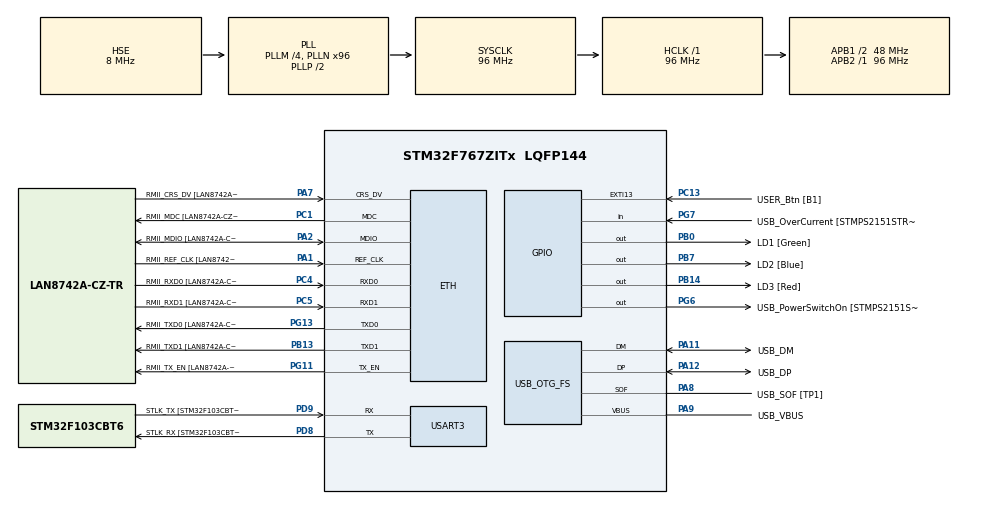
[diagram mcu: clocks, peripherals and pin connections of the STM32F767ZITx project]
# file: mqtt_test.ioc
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ETH.MACAddr=00\:80\:E1\:32\:E4\:63
ETH.MediaInterface=ETH_MEDIA_INTERFACE_RMII
ETH.PHY_Name=LAN8742A_PHY_ADDRESS
ETH.PHY_Value=0
ETH.PhyAddress=0
FREERTOS.Tasks01=defaultTask,24,512,StartDefaultTask,Default,NULL,Dynamic,NULL,NULL
LWIP.IP_ADDRESS=192.168.000.233
LWIP.LWIP_DHCP=1
LWIP.LWIP_DNS=1
LWIP.LWIP_IPV6=0
LWIP.NETMASK_ADDRESS=255.255.255.000
LWIP.Version=v2.1.2_Cube
Mcu.Family=STM32F7
Mcu.Name=STM32F767ZITx
Mcu.Package=LQFP144
NVIC.ETH_IRQn=true\:5\:0\:false\:false\:true\:true\:false\:true
NVIC.PriorityGroup=NVIC_PRIORITYGROUP_4
NVIC.TIM1_UP_TIM10_IRQn=true\:0\:0\:false\:false\:true\:false\:false\:true
NVIC.TimeBase=TIM1_UP_TIM10_IRQn
NVIC.TimeBaseIP=TIM1
PA1.GPIO_Label=RMII_REF_CLK [LAN8742A-CZ-TR_REFCLK0]
PA1.Mode=RMII
PA1.Signal=ETH_REF_CLK
PA10.GPIO_Label=USB_ID
PA10.Signal=USB_OTG_FS_ID
PA11.GPIO_Label=USB_DM
PA11.Mode=Device_Only
PA11.Signal=USB_OTG_FS_DM
PA12.GPIO_Label=USB_DP
PA12.Mode=Device_Only
PA12.Signal=USB_OTG_FS_DP
PA13.GPIO_Label=TMS
PA13.Mode=Serial_Wire
PA13.Signal=SYS_JTMS-SWDIO
PA14.GPIO_Label=TCK
PA14.Mode=Serial_Wire
PA14.Signal=SYS_JTCK-SWCLK
PA2.GPIO_Label=RMII_MDIO [LAN8742A-CZ-TR_MDIO]
PA2.Mode=RMII
PA2.Signal=ETH_MDIO
PA7.GPIO_Label=RMII_CRS_DV [LAN8742A-CZ-TR_CRS_DV]
PA7.Mode=RMII
PA7.Signal=ETH_CRS_DV
PA8.GPIO_Label=USB_SOF [TP1]
PA8.Mode=Activate_SOF_FS
PA8.Signal=USB_OTG_FS_SOF
PA9.GPIO_Label=USB_VBUS
PA9.Mode=Activate_VBUS
PA9.Signal=USB_OTG_FS_VBUS
PB0.GPIO_Label=LD1 [Green]
PB0.Signal=GPIO_Output
PB13.GPIO_Label=RMII_TXD1 [LAN8742A-CZ-TR_TXD1]
PB13.Mode=RMII
PB13.Signal=ETH_TXD1
PB14.GPIO_Label=LD3 [Red]
PB14.Signal=GPIO_Output
PB3.GPIO_Label=SWO
PB3.Signal=SYS_JTDO-SWO
PB7.GPIO_Label=LD2 [Blue]
PB7.Signal=GPIO_Output
PC1.GPIO_Label=RMII_MDC [LAN8742A-CZ-TR_MDC]
PC1.Mode=RMII
PC1.Signal=ETH_MDC
PC13.GPIO_Label=USER_Btn [B1]
PC13.Signal=GPXTI13
PC14/OSC32_IN.Mode=LSE-External-Oscillator
PC14/OSC32_IN.Signal=RCC_OSC32_IN
PC15/OSC32_OUT.Mode=LSE-External-Oscillator
PC15/OSC32_OUT.Signal=RCC_OSC32_OUT
PC4.GPIO_Label=RMII_RXD0 [LAN8742A-CZ-TR_RXD0]
PC4.Mode=RMII
PC4.Signal=ETH_RXD0
PC5.GPIO_Label=RMII_RXD1 [LAN8742A-CZ-TR_RXD1]
PC5.Mode=RMII
PC5.Signal=ETH_RXD1
PD8.GPIO_Label=STLK_RX [STM32F103CBT6_PA3]
PD8.Mode=Asynchronous
PD8.Signal=USART3_TX
PD9.GPIO_Label=STLK_TX [STM32F103CBT6_PA2]
PD9.Mode=Asynchronous
PD9.Signal=USART3_RX
PG11.GPIO_Label=RMII_TX_EN [LAN8742A-CZ-TR_TXEN]
PG11.Mode=RMII
PG11.Signal=ETH_TX_EN
PG13.GPIO_Label=RMII_TXD0 [LAN8742A-CZ-TR_TXD0]
PG13.Mode=RMII
PG13.Signal=ETH_TXD0
PG6.GPIO_Label=USB_PowerSwitchOn [STMPS2151STR_EN]
PG6.Signal=GPIO_Output
PG7.GPIO_Label=USB_OverCurrent [STMPS2151STR_FAULT]
PG7.Signal=GPIO_Input
PH0/OSC_IN.GPIO_Label=MCO [STM32F103CBT6_PA8]
PH0/OSC_IN.Mode=HSE-External-Oscillator
PH0/OSC_IN.Signal=RCC_OSC_IN
PH1/OSC_OUT.Mode=HSE-External-Oscillator
PH1/OSC_OUT.Signal=RCC_OSC_OUT
ProjectManager.HeapSize=0x200
ProjectManager.StackSize=0x400
ProjectManager.TargetToolchain=TrueSTUDIO
RCC.48MHZClocksFreq_Value=24000000
RCC.AHBFreq_Value=96000000
RCC.APB1CLKDivider=RCC_HCLK_DIV2
RCC.APB1Freq_Value=48000000
RCC.APB1TimFreq_Value=96000000
RCC.APB2Freq_Value=96000000
RCC.APB2TimFreq_Value=96000000
RCC.CortexFreq_Value=96000000
RCC.HCLKFreq_Value=96000000
RCC.HSE_VALUE=8000000
RCC.HSI_VALUE=16000000
RCC.PLLM=4
RCC.PLLMUL=RCC_PLL_MUL9
RCC.PLLN=96
RCC.PLLQ=4
RCC.PRESCALERUSB=RCC_USBCLKSOURCE_PLL_DIV1_5
RCC.SYSCLKFreq_VALUE=96000000
RCC.SYSCLKSource=RCC_SYSCLKSOURCE_PLLCLK
RCC.SYSCLKSourceVirtual=RCC_SYSCLKSOURCE_PLLCLK
RCC.USBFreq_Value=48000000
RCC.VCOOutputFreq_Value=192000000
USART3.VirtualMode-Asynchronous=VM_ASYNC
USB_OTG_FS.VirtualMode=Device_Only
VP_FREERTOS_VS_CMSIS_V2.Mode=CMSIS_V2
VP_LWIP_VS_Enabled.Mode=Enabled
VP_SYS_VS_tim1.Mode=TIM1
VP_TIM2_VS_ClockSourceINT.Mode=Internal
board=NUCLEO-F767ZI

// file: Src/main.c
/* USER CODE BEGIN Header */
/**
  ******************************************************************************
  * @file           : main.c
  * @brief          : Main program body
  ******************************************************************************
  * @attention
  *
  * <h2><center>&copy; Copyright (c) 2020 STMicroelectronics.
  * All rights reserved.</center></h2>
  *
  * This software component is licensed by ST under Ultimate Liberty license
  * SLA0044, the "License"; You may not use this file except in compliance with
  * the License. You may obtain a copy of the License at:
  *                             www.st.com/SLA0044
  *
  ******************************************************************************
  */
/* USER CODE END Header */

#include "main.h"
#include "cmsis_os.h"
#include "lwip.h"

/* USER CODE BEGIN Includes */
#include "mqtt.h"
/* USER CODE END Includes */

/* USER CODE BEGIN PD */
#define USER_NAME_or_TOKEN "token_hogehogefoo"
/* USER CODE END PD */

TIM_HandleTypeDef htim2;

UART_HandleTypeDef huart3;

PCD_HandleTypeDef hpcd_USB_OTG_FS;

/* Definitions for defaultTask */
osThreadId_t defaultTaskHandle;
const osThreadAttr_t defaultTask_attributes = {
  .name = "defaultTask",
  .priority = (osPriority_t) osPriorityNormal,
  .stack_size = 512 * 4
};

void SystemClock_Config(void);
static void MX_GPIO_Init(void);
static void MX_USART3_UART_Init(void);
static void MX_USB_OTG_FS_PCD_Init(void);
static void MX_TIM2_Init(void);
void StartDefaultTask(void *argument);

/* USER CODE BEGIN 0 */
void __io_putchar(uint8_t ch) {
	HAL_UART_Transmit(&huart3, &ch, 1, 1);
}

//mqtt--------------------------------------------------

static int inpub_id;
static void mqtt_incoming_publish_cb(void *arg, const char *topic, u32_t tot_len)
{
	  printf("Incoming publish at topic %s with total length %u\n", topic, (unsigned int)tot_len);

	  /* Decode topic string into a user defined reference */
	  if(strcmp(topic, "print_payload") == 0) {
		inpub_id = 0;
	  } else if(topic[0] == 'A') {
		/* All topics starting with 'A' might be handled at the same way */
		inpub_id = 1;
	  } else {
		/* For all other topics */
		inpub_id = 2;
	  }
}

///* Called when publish is complete either with sucess or failure */
static void mqtt_pub_request_cb(void *arg, err_t result)
{
  if(result != ERR_OK) {
    printf("Publish result: %d\n", result);
  }
}

void example_publish(mqtt_client_t *client, void *arg)
{
  const char *pub_payload= "PubSubHubLubJub";
  err_t err;
  u8_t qos = 0; /* 0 1 or 2, see MQTT specification */
  u8_t retain = 0; /* No don't retain such crappy payload... */
  err = mqtt_publish(client, "test/res", pub_payload, strlen(pub_payload), qos, retain, mqtt_pub_request_cb, arg);
  if(err != ERR_OK) {
    printf("Publish err: %d\n", err);
  }
}

static void mqtt_incoming_data_cb(void *arg, const u8_t *data, u16_t len, u8_t flags)
{
  printf("Incoming publish payload with length %d, flags %u\n", len, (unsigned int)flags);

  if(flags & MQTT_DATA_FLAG_LAST) {
    /* Last fragment of payload received (or whole part if payload fits receive buffer
       See MQTT_VAR_HEADER_BUFFER_LEN)  */

    /* Call function or do action depending on reference, in this case inpub_id */
    if(inpub_id == 0) {
      /* Don't trust the publisher, check zero termination */
      if(data[len-1] == 0) {
        printf("mqtt_incoming_data_cb: %s\n", (const char *)data);
      }
    } else if(inpub_id == 1) {
      /* Call an 'A' function... */
    } else {
      printf("mqtt_incoming_data_cb: Ignoring payload...\n");
    }
  } else {
    /* Handle fragmented payload, store in buffer, write to file or whatever */
  }
}

static void mqtt_sub_request_cb(void *arg, err_t result)
{
  /* Just print the result code here for simplicity,
     normal behaviour would be to take some action if subscribe fails like
     notifying user, retry subscribe or disconnect from server */
  printf("Subscribe result: %d\n", result);
}

static void mqtt_connection_cb(mqtt_client_t *client, void *arg, mqtt_connection_status_t status)
{
  err_t err;
  if(status == MQTT_CONNECT_ACCEPTED) {
    printf("mqtt_connection_cb: Successfully connected\n");

    /* Setup callback for incoming publish requests */
    mqtt_set_inpub_callback(client, mqtt_incoming_publish_cb, mqtt_incoming_data_cb, arg);

    /* Subscribe to a topic named "subtopic" with QoS level 1, call mqtt_sub_request_cb with result */
    err = mqtt_subscribe(client, "test/res", 1, mqtt_sub_request_cb, arg);

    if(err != ERR_OK) {
      printf("mqtt_subscribe return: %d\n", err);
    }
  } else {
    printf("mqtt_connection_cb: Disconnected, reason: %d\n", status);

    /* Its more nice to be connected, so try to reconnect */
    example_do_connect(client);
  }
}

void example_do_connect(mqtt_client_t *client)
{
  struct mqtt_connect_client_info_t ci;
  err_t err;
  ip4_addr_t broker_ipaddr,dnsaddress;

  err_t dns_err = dns_gethostbyname("mqtt.beebotte.com",&broker_ipaddr,NULL,NULL);

  printf("%x",ip4_addr_get_u32(&broker_ipaddr));

  /* Setup an empty client info structure */
  memset(&ci, 0, sizeof(ci));

  /* Minimal amount of information required is client identifier, so set it here */
  ci.client_id = "nucleo_c";
  ci.client_user  = USER_NAME_or_TOKEN;

  /* Initiate client and connect to server, if this fails immediately an error code is returned
     otherwise mqtt_connection_cb will be called with connection result after attempting
     to establish a connection with the server.
     For now MQTT version 3.1.1 is always used */

  err = mqtt_client_connect(client, &broker_ipaddr, 1883, mqtt_connection_cb, 0, &ci);

  /* For now just print the result code if something goes wrong */
  if(err != ERR_OK) {
    printf("mqtt_connect return %d\n", err);
  }
}
/* USER CODE END 0 */

int main(void)
{

  /* MCU Configuration--------------------------------------------------------*/

  /* Reset of all peripherals, Initializes the Flash interface and the Systick. */
  HAL_Init();

  /* Configure the system clock */
  SystemClock_Config();

  /* Initialize all configured peripherals */
  MX_GPIO_Init();
  MX_USART3_UART_Init();
  MX_USB_OTG_FS_PCD_Init();
  MX_TIM2_Init();

  /* Init scheduler */
  osKernelInitialize();

  /* Create the thread(s) */
  /* creation of defaultTask */
//  MX_LWIP_Init();
  defaultTaskHandle = osThreadNew(StartDefaultTask, NULL, &defaultTask_attributes);

  /* USER CODE BEGIN RTOS_THREADS */
//  xTaskCreate(&StartDefaultTask , "StartDefaultTask", 2048, NULL, 1, NULL);
  /* add threads, ... */
  /* USER CODE END RTOS_THREADS */

  /* Start scheduler */
  osKernelStart();

  /* We should never get here as control is now taken by the scheduler */
  /* Infinite loop */
  while (1)
  {

  }
}

void SystemClock_Config(void)
{
  RCC_OscInitTypeDef RCC_OscInitStruct = {0};
  RCC_ClkInitTypeDef RCC_ClkInitStruct = {0};
  RCC_PeriphCLKInitTypeDef PeriphClkInitStruct = {0};

  /** Configure LSE Drive Capability
  */
  HAL_PWR_EnableBkUpAccess();
  /** Configure the main internal regulator output voltage
  */
  __HAL_RCC_PWR_CLK_ENABLE();
  __HAL_PWR_VOLTAGESCALING_CONFIG(PWR_REGULATOR_VOLTAGE_SCALE3);
  /** Initializes the CPU, AHB and APB busses clocks
  */
  RCC_OscInitStruct.OscillatorType = RCC_OSCILLATORTYPE_HSE;
  RCC_OscInitStruct.HSEState = RCC_HSE_ON;
  RCC_OscInitStruct.PLL.PLLState = RCC_PLL_ON;
  RCC_OscInitStruct.PLL.PLLSource = RCC_PLLSOURCE_HSE;
  RCC_OscInitStruct.PLL.PLLM = 4;
  RCC_OscInitStruct.PLL.PLLN = 96;
  RCC_OscInitStruct.PLL.PLLP = RCC_PLLP_DIV2;
  RCC_OscInitStruct.PLL.PLLQ = 4;
  if (HAL_RCC_OscConfig(&RCC_OscInitStruct) != HAL_OK)
  {
    Error_Handler();
  }
  /** Activate the Over-Drive mode
  */
  if (HAL_PWREx_EnableOverDrive() != HAL_OK)
  {
    Error_Handler();
  }
  /** Initializes the CPU, AHB and APB busses clocks
  */
  RCC_ClkInitStruct.ClockType = RCC_CLOCKTYPE_HCLK|RCC_CLOCKTYPE_SYSCLK
                              |RCC_CLOCKTYPE_PCLK1|RCC_CLOCKTYPE_PCLK2;
  RCC_ClkInitStruct.SYSCLKSource = RCC_SYSCLKSOURCE_PLLCLK;
  RCC_ClkInitStruct.AHBCLKDivider = RCC_SYSCLK_DIV1;
  RCC_ClkInitStruct.APB1CLKDivider = RCC_HCLK_DIV2;
  RCC_ClkInitStruct.APB2CLKDivider = RCC_HCLK_DIV1;

  if (HAL_RCC_ClockConfig(&RCC_ClkInitStruct, FLASH_LATENCY_3) != HAL_OK)
  {
    Error_Handler();
  }
  PeriphClkInitStruct.PeriphClockSelection = RCC_PERIPHCLK_USART3|RCC_PERIPHCLK_CLK48;
  PeriphClkInitStruct.Usart3ClockSelection = RCC_USART3CLKSOURCE_PCLK1;
  PeriphClkInitStruct.Clk48ClockSelection = RCC_CLK48SOURCE_PLL;
  if (HAL_RCCEx_PeriphCLKConfig(&PeriphClkInitStruct) != HAL_OK)
  {
    Error_Handler();
  }
}

static void MX_TIM2_Init(void)
{

  TIM_ClockConfigTypeDef sClockSourceConfig = {0};
  TIM_MasterConfigTypeDef sMasterConfig = {0};

  htim2.Instance = TIM2;
  htim2.Init.Prescaler = 0;
  htim2.Init.CounterMode = TIM_COUNTERMODE_UP;
  htim2.Init.Period = 0;
  htim2.Init.ClockDivision = TIM_CLOCKDIVISION_DIV1;
  htim2.Init.AutoReloadPreload = TIM_AUTORELOAD_PRELOAD_DISABLE;
  if (HAL_TIM_Base_Init(&htim2) != HAL_OK)
  {
    Error_Handler();
  }
  sClockSourceConfig.ClockSource = TIM_CLOCKSOURCE_INTERNAL;
  if (HAL_TIM_ConfigClockSource(&htim2, &sClockSourceConfig) != HAL_OK)
  {
    Error_Handler();
  }
  sMasterConfig.MasterOutputTrigger = TIM_TRGO_RESET;
  sMasterConfig.MasterSlaveMode = TIM_MASTERSLAVEMODE_DISABLE;
  if (HAL_TIMEx_MasterConfigSynchronization(&htim2, &sMasterConfig) != HAL_OK)
  {
    Error_Handler();
  }

}

static void MX_USART3_UART_Init(void)
{

  huart3.Instance = USART3;
  huart3.Init.BaudRate = 115200;
  huart3.Init.WordLength = UART_WORDLENGTH_8B;
  huart3.Init.StopBits = UART_STOPBITS_1;
  huart3.Init.Parity = UART_PARITY_NONE;
  huart3.Init.Mode = UART_MODE_TX_RX;
  huart3.Init.HwFlowCtl = UART_HWCONTROL_NONE;
  huart3.Init.OverSampling = UART_OVERSAMPLING_16;
  huart3.Init.OneBitSampling = UART_ONE_BIT_SAMPLE_DISABLE;
  huart3.AdvancedInit.AdvFeatureInit = UART_ADVFEATURE_NO_INIT;
  if (HAL_UART_Init(&huart3) != HAL_OK)
  {
    Error_Handler();
  }

}

static void MX_USB_OTG_FS_PCD_Init(void)
{

  hpcd_USB_OTG_FS.Instance = USB_OTG_FS;
  hpcd_USB_OTG_FS.Init.dev_endpoints = 6;
  hpcd_USB_OTG_FS.Init.speed = PCD_SPEED_FULL;
  hpcd_USB_OTG_FS.Init.dma_enable = DISABLE;
  hpcd_USB_OTG_FS.Init.phy_itface = PCD_PHY_EMBEDDED;
  hpcd_USB_OTG_FS.Init.Sof_enable = ENABLE;
  hpcd_USB_OTG_FS.Init.low_power_enable = DISABLE;
  hpcd_USB_OTG_FS.Init.lpm_enable = DISABLE;
  hpcd_USB_OTG_FS.Init.vbus_sensing_enable = ENABLE;
  hpcd_USB_OTG_FS.Init.use_dedicated_ep1 = DISABLE;
  if (HAL_PCD_Init(&hpcd_USB_OTG_FS) != HAL_OK)
  {
    Error_Handler();
  }

}

static void MX_GPIO_Init(void)
{
  GPIO_InitTypeDef GPIO_InitStruct = {0};

  /* GPIO Ports Clock Enable */
  __HAL_RCC_GPIOC_CLK_ENABLE();
  __HAL_RCC_GPIOH_CLK_ENABLE();
  __HAL_RCC_GPIOA_CLK_ENABLE();
  __HAL_RCC_GPIOB_CLK_ENABLE();
  __HAL_RCC_GPIOD_CLK_ENABLE();
  __HAL_RCC_GPIOG_CLK_ENABLE();

  /*Configure GPIO pin Output Level */
  HAL_GPIO_WritePin(GPIOB, LD1_Pin|LD3_Pin|LD2_Pin, GPIO_PIN_RESET);

  /*Configure GPIO pin Output Level */
  HAL_GPIO_WritePin(USB_PowerSwitchOn_GPIO_Port, USB_PowerSwitchOn_Pin, GPIO_PIN_RESET);

  /*Configure GPIO pin : USER_Btn_Pin */
  GPIO_InitStruct.Pin = USER_Btn_Pin;
  GPIO_InitStruct.Mode = GPIO_MODE_IT_RISING;
  GPIO_InitStruct.Pull = GPIO_NOPULL;
  HAL_GPIO_Init(USER_Btn_GPIO_Port, &GPIO_InitStruct);

  /*Configure GPIO pins : LD1_Pin LD3_Pin LD2_Pin */
  GPIO_InitStruct.Pin = LD1_Pin|LD3_Pin|LD2_Pin;
  GPIO_InitStruct.Mode = GPIO_MODE_OUTPUT_PP;
  GPIO_InitStruct.Pull = GPIO_NOPULL;
  GPIO_InitStruct.Speed = GPIO_SPEED_FREQ_LOW;
  HAL_GPIO_Init(GPIOB, &GPIO_InitStruct);

  /*Configure GPIO pin : USB_PowerSwitchOn_Pin */
  GPIO_InitStruct.Pin = USB_PowerSwitchOn_Pin;
  GPIO_InitStruct.Mode = GPIO_MODE_OUTPUT_PP;
  GPIO_InitStruct.Pull = GPIO_NOPULL;
  GPIO_InitStruct.Speed = GPIO_SPEED_FREQ_LOW;
  HAL_GPIO_Init(USB_PowerSwitchOn_GPIO_Port, &GPIO_InitStruct);

  /*Configure GPIO pin : USB_OverCurrent_Pin */
  GPIO_InitStruct.Pin = USB_OverCurrent_Pin;
  GPIO_InitStruct.Mode = GPIO_MODE_INPUT;
  GPIO_InitStruct.Pull = GPIO_NOPULL;
  HAL_GPIO_Init(USB_OverCurrent_GPIO_Port, &GPIO_InitStruct);

}

void StartDefaultTask(void *argument)
{
  /* init code for LWIP */
  MX_LWIP_Init();
  /* USER CODE BEGIN 5 */

  //mqtt--------------
  mqtt_client_t *static_client = mqtt_client_new();
  example_do_connect(static_client);

  /* Infinite loop */
  for(;;)
  {
//	  	example_publish(static_client, 0);
		osDelay(1000);
  }
  /* USER CODE END 5 */
}

 /**
  * @brief  Period elapsed callback in non blocking mode
  * @note   This function is called  when TIM1 interrupt took place, inside
  * HAL_TIM_IRQHandler(). It makes a direct call to HAL_IncTick() to increment
  * a global variable "uwTick" used as application time base.
  * @param  htim : TIM handle
  * @retval None
  */
void HAL_TIM_PeriodElapsedCallback(TIM_HandleTypeDef *htim)
{
  if (htim->Instance == TIM1) {
    HAL_IncTick();
  }
}

void Error_Handler(void)
{
}

/************************ (C) COPYRIGHT STMicroelectronics *****END OF FILE****/
